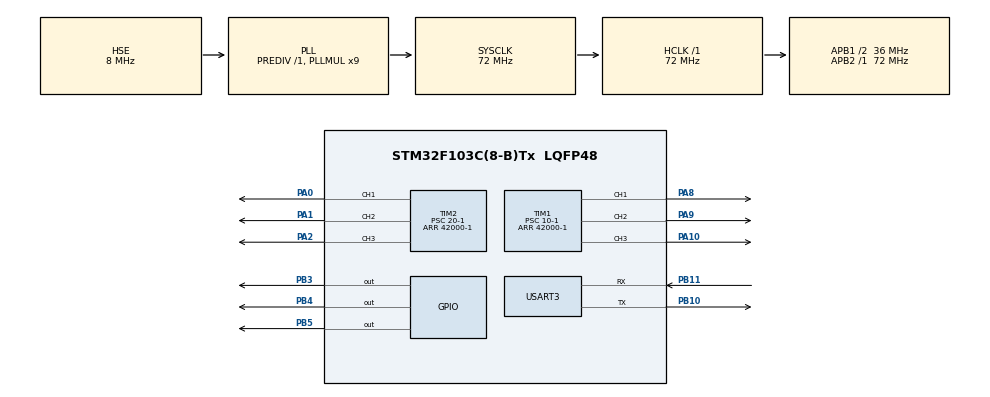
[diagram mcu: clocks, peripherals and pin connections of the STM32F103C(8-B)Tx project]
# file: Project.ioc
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FREERTOS.Tasks01=Task01,24,128,StartTask01,Default,NULL,Dynamic,NULL,NULL;Task02,16,128,StartTask02,Default,NULL,Dynamic,NULL,NULL
Mcu.Family=STM32F1
Mcu.Name=STM32F103C(8-B)Tx
Mcu.Package=LQFP48
NVIC.PriorityGroup=NVIC_PRIORITYGROUP_4
NVIC.TIM4_IRQn=true\:0\:0\:false\:false\:true\:false\:false\:true
NVIC.TimeBase=TIM4_IRQn
NVIC.TimeBaseIP=TIM4
PA0-WKUP.Signal=S_TIM2_CH1_ETR
PA1.Signal=S_TIM2_CH2
PA10.Signal=S_TIM1_CH3
PA13.Mode=Serial_Wire
PA13.Signal=SYS_JTMS-SWDIO
PA14.Mode=Serial_Wire
PA14.Signal=SYS_JTCK-SWCLK
PA2.Signal=S_TIM2_CH3
PA8.Signal=S_TIM1_CH1
PA9.Signal=S_TIM1_CH2
PB10.Mode=Asynchronous
PB10.Signal=USART3_TX
PB11.Mode=Asynchronous
PB11.Signal=USART3_RX
PB3.Signal=GPIO_Output
PB4.Signal=GPIO_Output
PB5.Signal=GPIO_Output
PD0-OSC_IN.Mode=HSE-External-Oscillator
PD0-OSC_IN.Signal=RCC_OSC_IN
PD1-OSC_OUT.Mode=HSE-External-Oscillator
PD1-OSC_OUT.Signal=RCC_OSC_OUT
ProjectManager.HeapSize=0x200
ProjectManager.StackSize=0x400
ProjectManager.TargetToolchain=MDK-ARM V5.27
RCC.AHBFreq_Value=72000000
RCC.APB1CLKDivider=RCC_HCLK_DIV2
RCC.APB1Freq_Value=36000000
RCC.APB1TimFreq_Value=72000000
RCC.APB2Freq_Value=72000000
RCC.APB2TimFreq_Value=72000000
RCC.HCLKFreq_Value=72000000
RCC.PLLMUL=RCC_PLL_MUL9
RCC.PLLSourceVirtual=RCC_PLLSOURCE_HSE
RCC.SYSCLKFreq_VALUE=72000000
RCC.SYSCLKSource=RCC_SYSCLKSOURCE_PLLCLK
RCC.USBFreq_Value=72000000
SH.S_TIM1_CH1.0=TIM1_CH1,PWM Generation1 CH1
SH.S_TIM1_CH2.0=TIM1_CH2,PWM Generation2 CH2
SH.S_TIM1_CH3.0=TIM1_CH3,PWM Generation3 CH3
SH.S_TIM2_CH1_ETR.0=TIM2_CH1,PWM Generation1 CH1
SH.S_TIM2_CH2.0=TIM2_CH2,PWM Generation2 CH2
SH.S_TIM2_CH3.0=TIM2_CH3,PWM Generation3 CH3
TIM1.Channel-PWM\ Generation1\ CH1=TIM_CHANNEL_1
TIM1.Channel-PWM\ Generation2\ CH2=TIM_CHANNEL_2
TIM1.Channel-PWM\ Generation3\ CH3=TIM_CHANNEL_3
TIM1.Period=42000-1
TIM1.Prescaler=10-1
TIM1.Pulse-PWM\ Generation1\ CH1=21000-1
TIM1.Pulse-PWM\ Generation2\ CH2=10500-1
TIM1.Pulse-PWM\ Generation3\ CH3=5250-1
TIM2.Channel-PWM\ Generation1\ CH1=TIM_CHANNEL_1
TIM2.Channel-PWM\ Generation2\ CH2=TIM_CHANNEL_2
TIM2.Channel-PWM\ Generation3\ CH3=TIM_CHANNEL_3
TIM2.Period=42000-1
TIM2.Prescaler=20-1
TIM2.Pulse-PWM\ Generation1\ CH1=21000-1
TIM2.Pulse-PWM\ Generation2\ CH2=10500-1
TIM2.Pulse-PWM\ Generation3\ CH3=5250-1
USART3.VirtualMode=VM_ASYNC
VP_FREERTOS_VS_CMSIS_V2.Mode=CMSIS_V2
VP_SYS_VS_tim4.Mode=TIM4
VP_TIM1_VS_ClockSourceINT.Mode=Internal
VP_TIM2_VS_ClockSourceINT.Mode=Internal
board=custom

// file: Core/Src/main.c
/* USER CODE BEGIN Header */
/**
  ******************************************************************************
  * @file           : main.c
  * @brief          : Main program body
  ******************************************************************************
  * @attention
  *
  * <h2><center>&copy; Copyright (c) 2021 STMicroelectronics.
  * All rights reserved.</center></h2>
  *
  * This software component is licensed by ST under Ultimate Liberty license
  * SLA0044, the "License"; You may not use this file except in compliance with
  * the License. You may obtain a copy of the License at:
  *                             www.st.com/SLA0044
  *
  ******************************************************************************
  */
/* USER CODE END Header */
#include "main.h"
#include "cmsis_os.h"
#include "tim.h"
#include "usart.h"
#include "gpio.h"

void SystemClock_Config(void);
void MX_FREERTOS_Init(void);

int main(void)
{

  /* MCU Configuration--------------------------------------------------------*/

  /* Reset of all peripherals, Initializes the Flash interface and the Systick. */
  HAL_Init();

  /* Configure the system clock */
  SystemClock_Config();

  /* Initialize all configured peripherals */
  MX_GPIO_Init();
  MX_TIM1_Init();
  MX_TIM2_Init();
  MX_USART3_UART_Init();

  /* Init scheduler */
  osKernelInitialize();  /* Call init function for freertos objects (in freertos.c) */
  MX_FREERTOS_Init();
  /* Start scheduler */
  osKernelStart();

  /* We should never get here as control is now taken by the scheduler */
  /* Infinite loop */
  /* USER CODE BEGIN WHILE */
  while (1)
  {
		HAL_GPIO_WritePin(GPIOB, GPIO_PIN_3, GPIO_PIN_RESET);
		HAL_GPIO_WritePin(GPIOB, GPIO_PIN_4, GPIO_PIN_RESET);
		HAL_GPIO_WritePin(GPIOB, GPIO_PIN_5, GPIO_PIN_RESET);

		HAL_Delay(500);
    /* USER CODE END WHILE */

  }
}

void SystemClock_Config(void)
{
  RCC_OscInitTypeDef RCC_OscInitStruct = {0};
  RCC_ClkInitTypeDef RCC_ClkInitStruct = {0};

  /** Initializes the RCC Oscillators according to the specified parameters
  * in the RCC_OscInitTypeDef structure.
  */
  RCC_OscInitStruct.OscillatorType = RCC_OSCILLATORTYPE_HSE;
  RCC_OscInitStruct.HSEState = RCC_HSE_ON;
  RCC_OscInitStruct.HSEPredivValue = RCC_HSE_PREDIV_DIV1;
  RCC_OscInitStruct.HSIState = RCC_HSI_ON;
  RCC_OscInitStruct.PLL.PLLState = RCC_PLL_ON;
  RCC_OscInitStruct.PLL.PLLSource = RCC_PLLSOURCE_HSE;
  RCC_OscInitStruct.PLL.PLLMUL = RCC_PLL_MUL9;
  if (HAL_RCC_OscConfig(&RCC_OscInitStruct) != HAL_OK)
  {
    Error_Handler();
  }
  /** Initializes the CPU, AHB and APB buses clocks
  */
  RCC_ClkInitStruct.ClockType = RCC_CLOCKTYPE_HCLK|RCC_CLOCKTYPE_SYSCLK
                              |RCC_CLOCKTYPE_PCLK1|RCC_CLOCKTYPE_PCLK2;
  RCC_ClkInitStruct.SYSCLKSource = RCC_SYSCLKSOURCE_PLLCLK;
  RCC_ClkInitStruct.AHBCLKDivider = RCC_SYSCLK_DIV1;
  RCC_ClkInitStruct.APB1CLKDivider = RCC_HCLK_DIV2;
  RCC_ClkInitStruct.APB2CLKDivider = RCC_HCLK_DIV1;

  if (HAL_RCC_ClockConfig(&RCC_ClkInitStruct, FLASH_LATENCY_2) != HAL_OK)
  {
    Error_Handler();
  }
}

void HAL_TIM_PeriodElapsedCallback(TIM_HandleTypeDef *htim)
{
  if (htim->Instance == TIM4) {
    HAL_IncTick();
  }
}

void Error_Handler(void)
{
}

/************************ (C) COPYRIGHT STMicroelectronics *****END OF FILE****/

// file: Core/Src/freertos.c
/* USER CODE BEGIN Header */
/**
  ******************************************************************************
  * File Name          : freertos.c
  * Description        : Code for freertos applications
  ******************************************************************************
  * @attention
  *
  * <h2><center>&copy; Copyright (c) 2021 STMicroelectronics.
  * All rights reserved.</center></h2>
  *
  * This software component is licensed by ST under Ultimate Liberty license
  * SLA0044, the "License"; You may not use this file except in compliance with
  * the License. You may obtain a copy of the License at:
  *                             www.st.com/SLA0044
  *
  ******************************************************************************
  */
/* USER CODE END Header */

#include "FreeRTOS.h"
#include "task.h"
#include "main.h"
#include "cmsis_os.h"

/* Definitions for Task01 */
osThreadId_t Task01Handle;
const osThreadAttr_t Task01_attributes = {
  .name = "Task01",
  .priority = (osPriority_t) osPriorityNormal,
  .stack_size = 128 * 4
};
/* Definitions for Task02 */
osThreadId_t Task02Handle;
const osThreadAttr_t Task02_attributes = {
  .name = "Task02",
  .priority = (osPriority_t) osPriorityBelowNormal,
  .stack_size = 128 * 4
};

void StartTask01(void *argument);
void StartTask02(void *argument);

void MX_FREERTOS_Init(void); /* (MISRA C 2004 rule 8.1) */

void MX_FREERTOS_Init(void) {

  /* Create the thread(s) */
  /* creation of Task01 */
  Task01Handle = osThreadNew(StartTask01, NULL, &Task01_attributes);

  /* creation of Task02 */
  Task02Handle = osThreadNew(StartTask02, NULL, &Task02_attributes);

}

void StartTask01(void *argument)
{
  /* USER CODE BEGIN StartTask01 */
	HAL_TIM_PWM_Start(&htim1, TIM_CHANNEL_1);
	HAL_TIM_PWM_Start(&htim1, TIM_CHANNEL_2);
	HAL_TIM_PWM_Start(&htim1, TIM_CHANNEL_3);

	HAL_TIM_PWM_Start(&htim2, TIM_CHANNEL_1);
	HAL_TIM_PWM_Start(&htim2, TIM_CHANNEL_2);
	HAL_TIM_PWM_Start(&htim2, TIM_CHANNEL_3);
	uint16_t ccr=0;
  /* Infinite loop */
  for(;;)
  {
		__HAL_TIM_SET_COMPARE(&htim2, TIM_CHANNEL_1, ccr);
		ccr +=1000;
		if(ccr > TIM4->ARR) ccr=0;
		HAL_Delay(50);
    osDelay(1);
  }
  /* USER CODE END StartTask01 */
}

void StartTask02(void *argument)
{
  /* USER CODE BEGIN StartTask02 */
	uint8_t a = 'a';
  /* Infinite loop */
  for(;;)
  {
		if(HAL_UART_Receive(&huart3, &a, 1, 10)==HAL_OK)
		{
			HAL_UART_Transmit(&huart3, &a, 1, 10);
		}
    osDelay(1);
  }
  /* USER CODE END StartTask02 */
}

/************************ (C) COPYRIGHT STMicroelectronics *****END OF FILE****/
